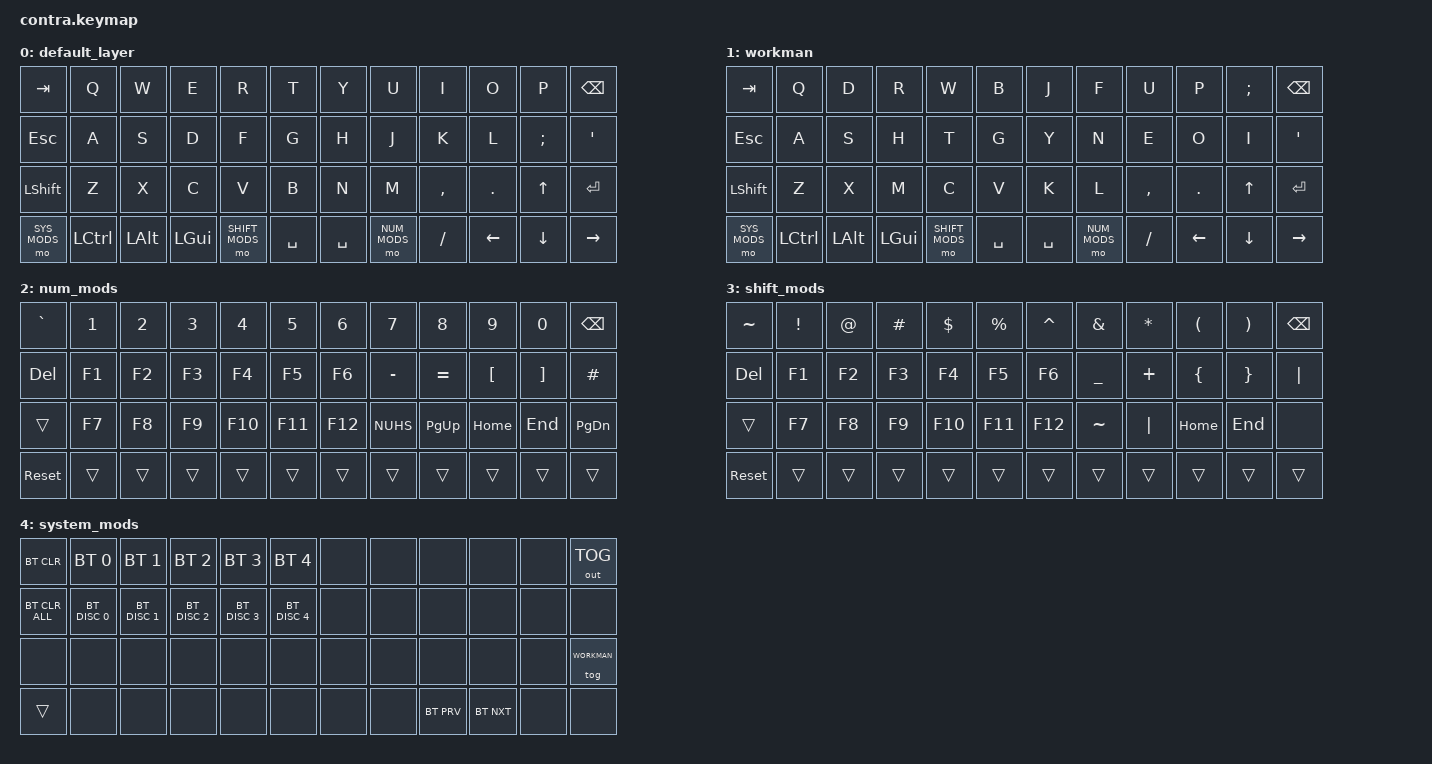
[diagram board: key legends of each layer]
/*
 * Copyright (c) 2021 The ZMK Contributors
 *
 * SPDX-License-Identifier: MIT
 */

#include <behaviors.dtsi>
#include <dt-bindings/zmk/keys.h>
#include <dt-bindings/zmk/bt.h>
#include <dt-bindings/zmk/outputs.h>

#define DEFAULT 0
#define WORKMAN 1
#define NUM_MODS 2
#define SHIFT_MODS 3
#define SYS_MODS 4

/ {
    keymap {
        compatible = "zmk,keymap";

        default_layer {
            bindings = <
    &kp TAB      &kp Q     &kp W    &kp E     &kp R          &kp T      &kp Y     &kp U        &kp I     &kp O     &kp P    &kp BSPC
    &kp ESC      &kp A     &kp S    &kp D     &kp F          &kp G      &kp H     &kp J        &kp K     &kp L     &kp SEMI &kp SQT
    &kp LSHFT    &kp Z     &kp X    &kp C     &kp V          &kp B      &kp N     &kp M        &kp COMMA &kp DOT   &kp UP   &kp ENTER
    &mo SYS_MODS &kp LCTRL &kp LALT &kp LGUI  &mo SHIFT_MODS &kp SPACE  &kp SPACE &mo NUM_MODS &kp FSLH  &kp LEFT  &kp DOWN &kp RIGHT
            >;
        };

        workman {
            bindings = <
    &kp TAB      &kp Q     &kp D    &kp R     &kp W          &kp B      &kp J     &kp F        &kp U     &kp P     &kp SEMI &kp BSPC
    &kp ESC      &kp A     &kp S    &kp H     &kp T          &kp G      &kp Y     &kp N        &kp E     &kp O     &kp I    &kp SQT
    &kp LSHFT    &kp Z     &kp X    &kp M     &kp C          &kp V      &kp K     &kp L        &kp COMMA &kp DOT   &kp UP   &kp ENTER
    &mo SYS_MODS &kp LCTRL &kp LALT &kp LGUI  &mo SHIFT_MODS &kp SPACE  &kp SPACE &mo NUM_MODS &kp FSLH  &kp LEFT  &kp DOWN &kp RIGHT
            >;
        };

        num_mods {
            bindings = <
    &kp GRAVE  &kp N1    &kp N2   &kp N3   &kp N4      &kp N5     &kp N6    &kp N7      &kp N8    &kp N9    &kp N0   &kp BSPC
    &kp DEL    &kp F1    &kp F2   &kp F3   &kp F4      &kp F5     &kp F6    &kp MINUS   &kp EQUAL &kp LBKT  &kp RBKT &kp HASH
    &trans     &kp F7    &kp F8   &kp F9   &kp F10     &kp F11    &kp F12   &kp NUHS    &kp PG_UP &kp HOME  &kp END  &kp PG_DN
    &sys_reset &trans    &trans   &trans   &trans      &trans     &trans    &trans      &trans    &trans    &trans   &trans
            >;
        };

        shift_mods {
            bindings = <
    &kp TILDE  &kp EXCL  &kp AT_SIGN  &kp POUND   &kp DOLLAR  &kp PERCENT &kp CARET &kp AMPERSAND &kp ASTERISK &kp LPAR  &kp RPAR  &kp BSPC
    &kp DEL    &kp F1    &kp F2       &kp F3      &kp F4      &kp F5      &kp F6    &kp UNDER     &kp PLUS     &kp LBRC  &kp RBRC  &kp PIPE
    &trans     &kp F7    &kp F8       &kp F9      &kp F10     &kp F11     &kp F12   &kp TILDE     &kp PIPE     &kp HOME  &kp END   &none
    &sys_reset &trans    &trans       &trans      &trans      &trans      &trans    &trans        &trans       &trans    &trans    &trans
            >;
        };

        system_mods {
            bindings = <
    &bt BT_CLR     &bt BT_SEL 0  &bt BT_SEL 1  &bt BT_SEL 2  &bt BT_SEL 3  &bt BT_SEL 4  &none    &none    &none      &none      &none   &out OUT_TOG
    &bt BT_CLR_ALL &bt BT_DISC 0 &bt BT_DISC 1 &bt BT_DISC 2 &bt BT_DISC 3 &bt BT_DISC 4 &none    &none    &none      &none      &none   &none
    &none          &none         &none         &none         &none        &none          &none    &none    &none      &none      &none   &tog WORKMAN
    &trans         &none         &none         &none         &none        &none          &none    &none    &bt BT_PRV &bt BT_NXT &none   &none
            >;
        };

    };
};
